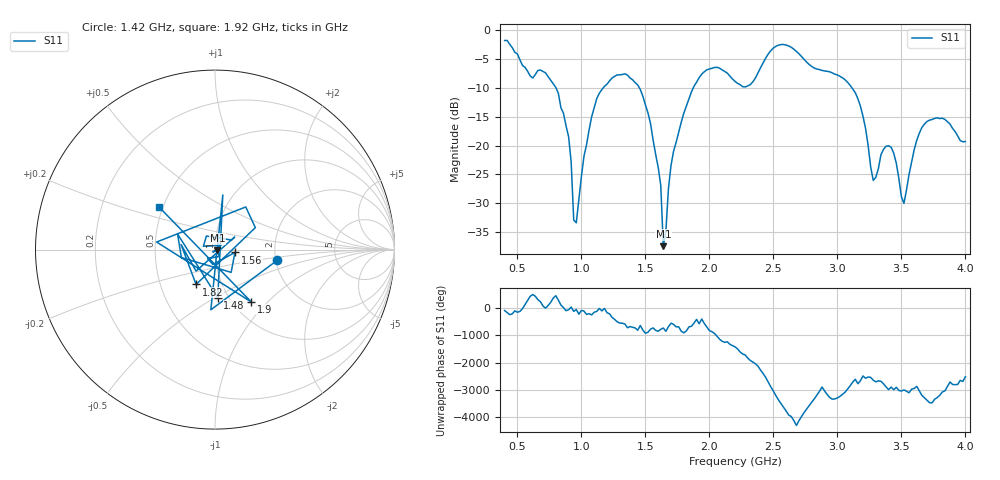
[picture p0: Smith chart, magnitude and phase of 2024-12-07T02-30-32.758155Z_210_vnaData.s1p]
!Created with skrf (http://scikit-rf.org).
# Hz S RI R 50.0
!freq ReS11 ImS11
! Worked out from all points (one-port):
!   181 points, 400 MHz to 4 GHz, reference 50 ohm
!   lowest |S11| = -37.5 dB at 1.64 GHz (marker M1), VSWR 1.03, Z = 51.3 - j0.306 ohm
!   |S11| at or under -10 dB: 802.1 MHz to 1.17 GHz (367.4 MHz wide, 37.3 % of centre); 1.454 GHz to 1.873 GHz (419.7 MHz wide, 25.2 % of centre); 3.115 GHz to end of sweep
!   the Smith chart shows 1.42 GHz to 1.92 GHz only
!   S11 on the Smith chart (normalised r, x): 1.42 GHz: 2.04, -0.28; 1.48 GHz: 0.89, -0.52; 1.56 GHz: 1.25, -0.04; 1.82 GHz: 0.76, -0.31; 1.9 GHz: 1.21, -0.81; 1.92 GHz: 0.48, +0.27
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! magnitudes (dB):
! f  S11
! 400 MHz  -1.8
! 860 MHz  -14.4
! 900 MHz  -18.4
! 940 MHz  -32.9
! 960 MHz  -33.4
! 1.02 GHz  -21.8
! 1.12 GHz  -11.8
! 1.3 GHz  -7.7
! 1.42 GHz  -9.1
! 1.48 GHz  -11.4
! 1.56 GHz  -19.0
! 1.62 GHz  -26.9
! 1.64 GHz  -37.5
! 1.7 GHz  -23.5
! 1.76 GHz  -17.7
! 1.82 GHz  -13.1
! 1.9 GHz  -9.0
! 1.92 GHz  -8.2
! 2.2 GHz  -8.8
! 2.66 GHz  -3.3
! 3.1 GHz  -9.5
! 3.2 GHz  -14.9
! 3.28 GHz  -26.0
! 3.38 GHz  -20.1
! 3.52 GHz  -30.0
! 3.56 GHz  -25.0
! 3.7 GHz  -15.8
! 4 GHz  -19.3
